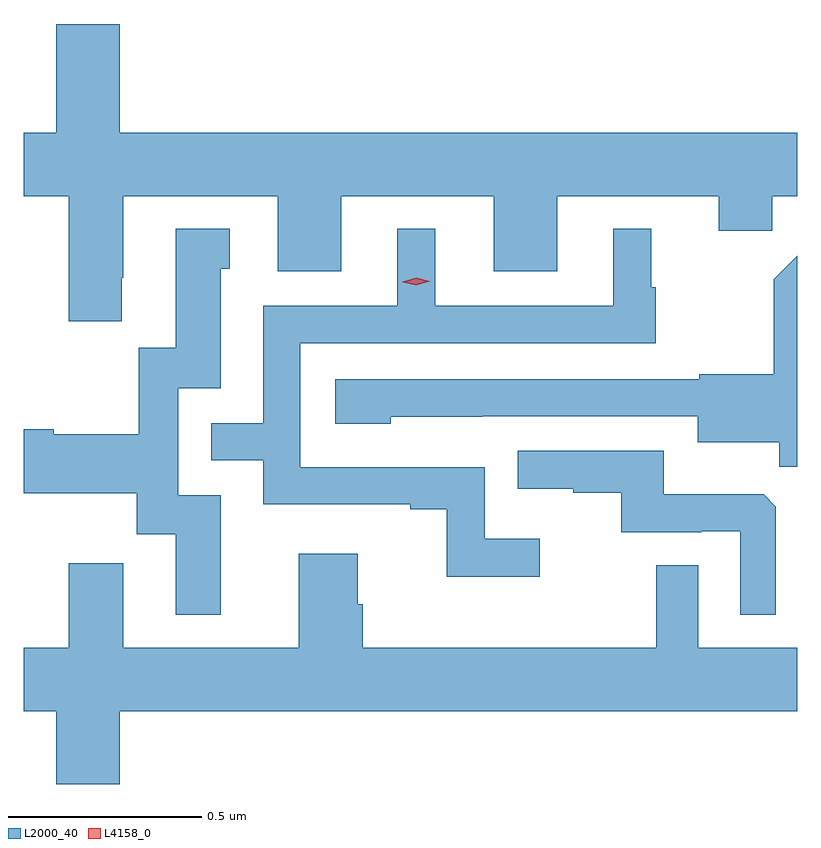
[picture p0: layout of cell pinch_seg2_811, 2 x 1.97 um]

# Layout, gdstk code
import gdstk
lib = gdstk.Library(unit=1e-6, precision=1e-09)
def P(c, l, *ps):  # polygons
    for p in ps: c.add(gdstk.Polygon(p, *l))
L2000_40 = (2000, 40)
L4158_0 = (4158, 0)

pinch_seg2_811 = lib.new_cell('pinch_seg2_811')
P(pinch_seg2_811, L2000_40, [(740.602,599.473),(740.605,599.473),(740.605,599.684),(741.005,599.684),(741.005,599.49),(741.169,599.49),(741.169,599.684),(741.563,599.684),(741.563,599.49),(741.727,599.49),(741.727,599.684),(742.145,599.684),(742.145,599.594),(742.283,599.594),(742.283,599.684),(742.348,599.684),(742.348,599.848),(740.596,599.848),(740.596,600.129),(740.432,600.129),(740.432,599.848),(740.348,599.848),(740.348,599.684),(740.465,599.684),(740.465,599.361),(740.602,599.361)],
  [(741.682,598.798),(741.54,598.798),(741.54,598.983),(741.063,598.983),(741.063,599.304),(741.982,599.304),(741.982,599.448),(741.97,599.448),(741.97,599.599),(741.872,599.599),(741.872,599.4),(741.412,599.4),(741.412,599.599),(741.314,599.599),(741.314,599.4),(740.967,599.4),(740.967,599.097),(740.833,599.097),(740.833,599.001),(740.967,599.001),(740.967,598.887),(741.347,598.887),(741.347,598.875),(741.442,598.875),(741.442,598.7),(741.682,598.7)],
  [(740.857,598.911),(740.748,598.911),(740.748,599.187),(740.857,599.187),(740.857,599.496),(740.881,599.496),(740.881,599.599),(740.741,599.599),(740.741,599.292),(740.645,599.292),(740.645,599.068),(740.425,599.068),(740.425,599.081),(740.348,599.081),(740.348,598.916),(740.64,598.916),(740.64,598.81),(740.741,598.81),(740.741,598.602),(740.857,598.602)],
  [(742.348,599.53),(742.287,599.469),(742.287,599.224),(742.095,599.224),(742.095,599.211),(741.153,599.211),(741.153,599.096),(741.297,599.096),(741.297,599.114),(741.533,599.114),(741.533,599.115),(742.091,599.115),(742.091,599.048),(742.302,599.048),(742.302,598.984),(742.348,598.984)],
  [(742.293,598.881),(742.261,598.913),(742.003,598.913),(742.003,599.025),(741.625,599.025),(741.625,598.928),(741.769,598.928),(741.769,598.917),(741.893,598.917),(741.893,598.815),(742.1,598.815),(742.1,598.818),(742.2,598.818),(742.2,598.601),(742.293,598.601)],
  [(740.596,598.352),(742.348,598.352),(742.348,598.516),(742.092,598.516),(742.092,598.73),(741.984,598.73),(741.984,598.516),(741.224,598.516),(741.224,598.629),(741.211,598.629),(741.211,598.759),(741.059,598.759),(741.059,598.516),(740.605,598.516),(740.605,598.735),(740.465,598.735),(740.465,598.516),(740.348,598.516),(740.348,598.352),(740.432,598.352),(740.432,598.164),(740.596,598.164)])
P(pinch_seg2_811, L4158_0, [(741.363,599.453),(741.328,599.461),(741.327,599.462),(741.328,599.462),(741.363,599.473),(741.398,599.464),(741.399,599.464),(741.398,599.464)])

lib.write_gds('pinch_seg2_811.gds')
